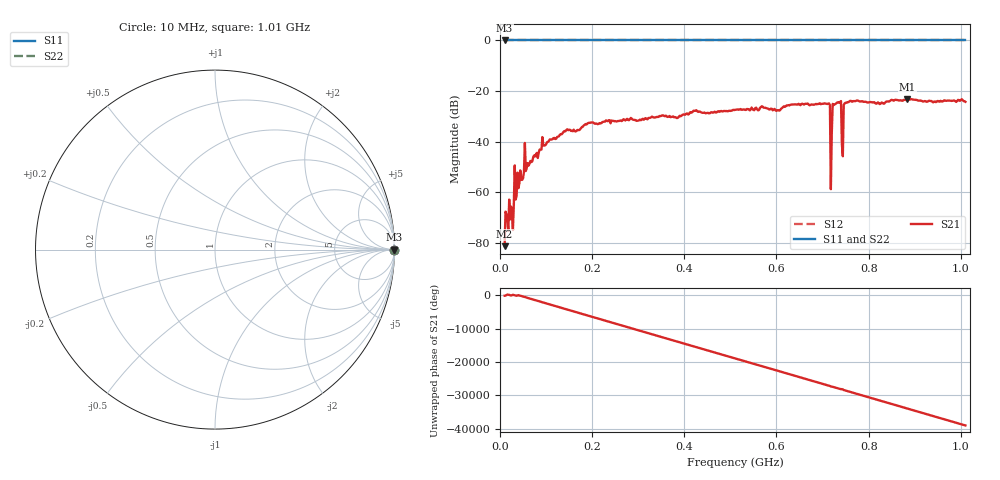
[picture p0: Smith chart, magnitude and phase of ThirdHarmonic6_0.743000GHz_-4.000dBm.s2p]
! 8/16/2025 12:51:17 AM
! C:\ANRITSUVNA\TEMP\TEMP.S2P
! CHANNEL.1
! TR.MEASUREMENT
! RAW.DATA
! RF.CORRECTION.OFF
! AVERAGING.OFF
! IF.BANDWIDTH: 5KHZ
! SWEEPTYPE:  FREQ.SWEEP(Linear)
! Reference Plane Port Info
! PORT:  PORT1  PORT2
! DISTANCE:  0  m  0  m
! TIME:  0  s  0  s
! PHASE.OFFSET:  0  deg.  0  deg.
! LOSS:  0  dB  0  dB
! REF.LOSS:  0  dB  0  dB
! REF.FREQ:  0  Hz  0  Hz
! Power Info
! POWER:  -20  dBm  -20  dBm
! EFF.POWER:  -20  dBm  -20  dBm
! SOURCE.ATTEN:  0  dB  0  dB
! TEST.ATTEN:  0  dB  0  dB
# GHZ S RI R 50.0
! FREQ.GHZ  S11RE  S11IM  S21RE  S21IM  S12RE  S12IM  S22RE  S22IM
!; PortSelection: Port_12
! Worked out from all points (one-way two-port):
!   501 points, 10 MHz to 1.01 GHz, reference 50 ohm
!   highest |S21| = -23.12 dB at 884 MHz (marker M1); lowest = -81.2 dB at 10 MHz (marker M2)
!   lowest |S11| = 0.0 dB at 10 MHz (marker M3)
!   |S11| at or under -10 dB: nowhere
!   |S22| runs from 0.0 to 0.0 dB; largest |S21 - S12| = 1.1
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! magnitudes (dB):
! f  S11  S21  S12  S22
! 10 MHz  0.0  -81.2  0.0  0.0
! 16 MHz  0.0  -70.2  0.0  0.0
! 26 MHz  0.0  -69.2  0.0  0.0
! 36 MHz  0.0  -61.3  0.0  0.0
! 58 MHz  0.0  -50.4  0.0  0.0
! 96 MHz  0.0  -41.5  0.0  0.0
! 178 MHz  0.0  -34.1  0.0  0.0
! 344 MHz  0.0  -30.2  0.0  0.0
! 510 MHz  0.0  -27.4  0.0  0.0
! 678 MHz  0.0  -25.4  0.0  0.0
! 712 MHz  0.0  -25.0  0.0  0.0
! 716 MHz  0.0  -25.5  0.0  0.0
! 720 MHz  0.0  -36.7  0.0  0.0
! 722 MHz  0.0  -25.1  0.0  0.0
! 726 MHz  0.0  -25.3  0.0  0.0
! 736 MHz  0.0  -24.6  0.0  0.0
! 740 MHz  0.0  -23.9  0.0  0.0
! 746 MHz  0.0  -25.4  0.0  0.0
! 752 MHz  0.0  -24.6  0.0  0.0
! 844 MHz  0.0  -24.1  0.0  0.0
! 884 MHz  0.0  -23.1  0.0  0.0
! 1.01 GHz  0.0  -24.2  0.0  0.0
